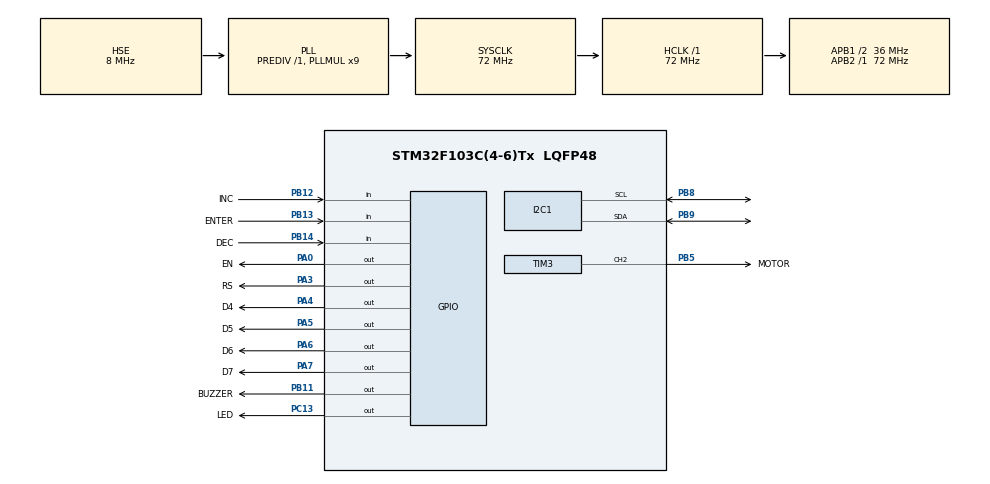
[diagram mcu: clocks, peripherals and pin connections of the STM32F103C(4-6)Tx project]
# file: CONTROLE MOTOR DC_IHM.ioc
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Mcu.Family=STM32F1
Mcu.Name=STM32F103C(4-6)Tx
Mcu.Package=LQFP48
NVIC.PriorityGroup=NVIC_PRIORITYGROUP_4
PA0-WKUP.GPIO_Label=EN
PA0-WKUP.Signal=GPIO_Output
PA13.Mode=Serial_Wire
PA13.Signal=SYS_JTMS-SWDIO
PA14.Mode=Serial_Wire
PA14.Signal=SYS_JTCK-SWCLK
PA3.GPIO_Label=RS
PA3.Signal=GPIO_Output
PA4.GPIO_Label=D4
PA4.Signal=GPIO_Output
PA5.GPIO_Label=D5
PA5.Signal=GPIO_Output
PA6.GPIO_Label=D6
PA6.Signal=GPIO_Output
PA7.GPIO_Label=D7
PA7.Signal=GPIO_Output
PB11.GPIO_Label=BUZZER
PB11.Signal=GPIO_Output
PB12.GPIO_Label=INC
PB12.Signal=GPIO_Input
PB13.GPIO_Label=ENTER
PB13.Signal=GPIO_Input
PB14.GPIO_Label=DEC
PB14.Signal=GPIO_Input
PB5.GPIO_Label=MOTOR
PB5.Signal=S_TIM3_CH2
PB8.GPIO_Pu=GPIO_PULLUP
PB8.Mode=I2C
PB8.Signal=I2C1_SCL
PB9.GPIO_Pu=GPIO_PULLUP
PB9.Mode=I2C
PB9.Signal=I2C1_SDA
PC13-TAMPER-RTC.GPIO_Label=LED
PC13-TAMPER-RTC.Signal=GPIO_Output
PD0-OSC_IN.Mode=HSE-External-Oscillator
PD0-OSC_IN.Signal=RCC_OSC_IN
PD1-OSC_OUT.Mode=HSE-External-Oscillator
PD1-OSC_OUT.Signal=RCC_OSC_OUT
ProjectManager.HeapSize=0x200
ProjectManager.StackSize=0x400
ProjectManager.TargetToolchain=STM32CubeIDE
RCC.AHBFreq_Value=72000000
RCC.APB1CLKDivider=RCC_HCLK_DIV2
RCC.APB1Freq_Value=36000000
RCC.APB1TimFreq_Value=72000000
RCC.APB2Freq_Value=72000000
RCC.APB2TimFreq_Value=72000000
RCC.HCLKFreq_Value=72000000
RCC.PLLMUL=RCC_PLL_MUL9
RCC.PLLSourceVirtual=RCC_PLLSOURCE_HSE
RCC.SYSCLKFreq_VALUE=72000000
RCC.SYSCLKSource=RCC_SYSCLKSOURCE_PLLCLK
RCC.USBFreq_Value=72000000
SH.S_TIM3_CH2.0=TIM3_CH2,PWM Generation2 CH2
TIM2.Period=100-1
TIM2.Prescaler=72-1
TIM3.Channel-PWM\ Generation2\ CH2=TIM_CHANNEL_2
TIM3.Period=100-1
TIM3.Prescaler=72-1
VP_TIM2_VS_ClockSourceINT.Mode=Internal
board=custom

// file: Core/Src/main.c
/* USER CODE BEGIN Header */
/**
  ******************************************************************************
  * @file           : main.c
  * @brief          : Main program body
  ******************************************************************************
  * @attention
  *
  * Copyright (c) 2024 STMicroelectronics.
  * All rights reserved.
  *
  * This software is licensed under terms that can be found in the LICENSE file
  * in the root directory of this software component.
  * If no LICENSE file comes with this software, it is provided AS-IS.
  *
  ******************************************************************************
  */
/* USER CODE END Header */
#include "main.h"

/* USER CODE BEGIN Includes */
#include <stdio.h>
#include "lcd.h"
/* USER CODE END Includes */

I2C_HandleTypeDef hi2c1;

TIM_HandleTypeDef htim2;
TIM_HandleTypeDef htim3;

/* USER CODE BEGIN PV */
uint8_t menu, start;
uint8_t inc, dec, enter, aux_init;
uint8_t aux_menu, aux_start, accel_time, set_ok;
uint8_t aux_accel, aux_running, aux_decel, config_finish;
uint8_t a_inc, r_inc, d_inc, inc_running, inc_decel;
uint8_t config_init, start_init, pwm;
uint8_t pwm_preset, aux_pwmPreset, motor;
uint8_t address = 0xA0;
uint8_t data = 0x18;
uint8_t data_read = 0x00;

char buffer_accel [15] = {0x00};
char buffer_running [15] = {0x00};
char buffer_decel [15] = {0x00};
/* USER CODE END PV */

void SystemClock_Config(void);
static void MX_GPIO_Init(void);
static void MX_TIM2_Init(void);
static void MX_I2C1_Init(void);
static void MX_TIM3_Init(void);
/* USER CODE BEGIN PFP */
void Buzzer_Teclas();
void ENTER_Boucing();
void DEC_Boucing();
void INC_Boucing();
void start_preset();
void start_config();
void sys_init();
void set_converter();
void converter_preset();
uint8_t find_I2C_device(uint8_t start_address, uint8_t end_address);
/* USER CODE END PFP */

int main(void)
{

  /* MCU Configuration--------------------------------------------------------*/

  /* Reset of all peripherals, Initializes the Flash interface and the Systick. */
  HAL_Init();

  /* Configure the system clock */
  SystemClock_Config();

  /* Initialize all configured peripherals */
  MX_GPIO_Init();
  MX_TIM2_Init();
  MX_I2C1_Init();
  MX_TIM3_Init();
  /* USER CODE BEGIN 2 */
  sys_init();

 address = find_I2C_device(0x03, 0x77);
 if (HAL_I2C_Mem_Write(&hi2c1, address, 0x00, I2C_MEMADD_SIZE_8BIT,&data, 1, 100) != HAL_OK)
 {
	 while(1);
 }
HAL_GPIO_WritePin(LED_GPIO_Port, LED_Pin, GPIO_PIN_SET);
HAL_Delay(50);
HAL_GPIO_WritePin(LED_GPIO_Port, LED_Pin, GPIO_PIN_RESET);
HAL_Delay(50);

  /* USER CODE END 2 */

  /* Infinite loop */
  /* USER CODE BEGIN WHILE */
	while (1)
	{
		if ((start == 1) && (HAL_GPIO_ReadPin(ENTER_GPIO_Port, ENTER_Pin)))
		{
			ENTER_Boucing();
			Buzzer_Teclas();
			start = 3;
			converter_preset();
		}

		if (HAL_GPIO_ReadPin(INC_GPIO_Port, INC_Pin) && (start == 1))
		{
			INC_Boucing();
			Buzzer_Teclas();
			LCD_Clear();
			menu = 1;
			start = 0;
		}

		if ((menu == 1) && (HAL_GPIO_ReadPin(DEC_GPIO_Port, DEC_Pin)))
		{
			DEC_Boucing();
			Buzzer_Teclas();
			LCD_Clear();
			menu = 0;
			start = 2;
		}

		if ((aux_start == 1) && (HAL_GPIO_ReadPin(ENTER_GPIO_Port, ENTER_Pin)))
		{
			ENTER_Boucing();
			Buzzer_Teclas();
			start = 3;
			aux_start = 0;
			converter_preset();
		}

		if ((aux_menu == 1) && (HAL_GPIO_ReadPin(ENTER_GPIO_Port, ENTER_Pin)))
		{
			ENTER_Boucing();
			Buzzer_Teclas();
			LCD_Clear();
			menu = 2;
			aux_menu = 0;
			a_inc = 5;
			sprintf(buffer_accel, "%d", a_inc);
		}

		if ((aux_accel == 1) && (HAL_GPIO_ReadPin(INC_GPIO_Port, INC_Pin) && (a_inc <= 80)))
		{
			aux_menu =0;
			INC_Boucing();
			Buzzer_Teclas();
			LCD_Clear();
			a_inc += 5;
			sprintf(buffer_accel, "%d", a_inc);
			menu = 3;
		}
		else if (((aux_accel == 1) && (HAL_GPIO_ReadPin(DEC_GPIO_Port, DEC_Pin) && (a_inc <= 80) && (a_inc >5))))
		{
			aux_menu = 0;
			DEC_Boucing();
			Buzzer_Teclas();
			LCD_Clear();
			a_inc -= 5;
			sprintf(buffer_accel, "%d", a_inc);
			menu = 3;
		}

		if ((aux_running == 1) && (HAL_GPIO_ReadPin(ENTER_GPIO_Port, ENTER_Pin)))
		{
			a_inc = a_inc;
			aux_accel = 0;
			ENTER_Boucing();
			Buzzer_Teclas();
			LCD_Clear();
			menu = 4;
			r_inc = 5;
			sprintf(buffer_running, "%d", r_inc);
		}

		if ((inc_running == 1) && (HAL_GPIO_ReadPin(INC_GPIO_Port, INC_Pin) && (r_inc <= 180)))
		{
			aux_running = 0;
			INC_Boucing();
			Buzzer_Teclas();
			LCD_Clear();
			r_inc += 5;
			sprintf(buffer_running, "%d", r_inc);
			menu = 5;
		}
		else if ((inc_running == 1) && (HAL_GPIO_ReadPin(DEC_GPIO_Port, DEC_Pin) && (r_inc <= 180) && (r_inc > 5)))
		{
			aux_running = 0;
			DEC_Boucing();
			Buzzer_Teclas();
			LCD_Clear();
			r_inc -= 5;
			sprintf(buffer_running, "%d", r_inc);
			menu = 5;
		}

		if ((aux_decel == 1) && (HAL_GPIO_ReadPin(ENTER_GPIO_Port, ENTER_Pin)))
		{
			r_inc = r_inc;
			inc_running = 0;
			ENTER_Boucing();
			Buzzer_Teclas();
			LCD_Clear();
			menu = 6;
			d_inc = 5;
			sprintf(buffer_decel, "%d", d_inc);
		}

		if ((inc_decel == 1) && (HAL_GPIO_ReadPin(INC_GPIO_Port, INC_Pin) && (d_inc <= 80)))
		{
			aux_decel = 0;
			INC_Boucing();
			Buzzer_Teclas();
			LCD_Clear();
			d_inc += 5;
			sprintf(buffer_decel, "%d", d_inc);
			menu = 7;
		}
		else if ((inc_decel == 1) && (HAL_GPIO_ReadPin(DEC_GPIO_Port, DEC_Pin) && (d_inc <= 80) && (d_inc > 5)))
		{
			aux_decel = 0;
			DEC_Boucing();
			Buzzer_Teclas();
			LCD_Clear();
			d_inc -= 5;
			sprintf(buffer_decel, "%d", d_inc);
			menu = 7;
		}

		if ((config_finish == 1) && (HAL_GPIO_ReadPin(ENTER_GPIO_Port, ENTER_Pin)))
		{
			d_inc = d_inc;
			inc_decel = 0;
			ENTER_Boucing();
			Buzzer_Teclas();
			LCD_Clear();
			start = 4;
			menu = 0;
		}

		if ((HAL_GPIO_ReadPin(ENTER_GPIO_Port, ENTER_Pin)) && (config_init = 1))
		{
			ENTER_Boucing();
			Buzzer_Teclas();
			LCD_Clear();
			set_converter();
			start = 5;
		}

		switch (menu)
		{
		case 1:
			LCD_Cursor(0, 2);
			LCD_String("DC MOTOR SYS");
			LCD_Cursor(1, 0);
			LCD_String("<     MENU    ");
			aux_menu = 1;
			break;

		case 2:
			LCD_Cursor(0, 0);
			LCD_String("   ACCEL TIME   ");
			LCD_Cursor(1, 7);
			LCD_String(buffer_accel);
			LCD_Cursor(1, 8);
			LCD_String("s");
			aux_accel = 1;
			break;

		case 3:
			LCD_Cursor(0, 0);
			LCD_String("   ACCEL TIME   ");
			LCD_Cursor(1, 6);
			LCD_String(buffer_accel);
			LCD_Cursor(1, 8);
			LCD_String("s");
			aux_running = 1;
			break;

		case 4:
			LCD_Cursor(0, 0);
			LCD_String("  RUNNING TIME  ");
			LCD_Cursor(1, 7);
			LCD_String(buffer_running);
			LCD_Cursor(1, 8);
			LCD_String("s");
			inc_running = 1;
			break;

		case 5:
			LCD_Cursor(0, 0);
			LCD_String("  RUNNING TIME  ");
			LCD_Cursor(1, 6);
			LCD_String(buffer_running);
			LCD_Cursor(1, 9);
			LCD_String("s");
			aux_decel = 1;
			break;

		case 6:
			LCD_Cursor(0, 0);
			LCD_String("   DECEL TIME   ");
			LCD_Cursor(1, 7);
			LCD_String(buffer_decel);
			LCD_Cursor(1, 8);
			LCD_String("s");
			inc_decel = 1;
			break;

		case 7:
			LCD_Cursor(0, 0);
			LCD_String("   DECEL TIME   ");
			LCD_Cursor(1, 6);
			LCD_String(buffer_decel);
			LCD_Cursor(1, 8);
			LCD_String("s");
			config_finish = 1;
			break;
		}

		switch (start)
		{

		case 1:
			LCD_Cursor(0, 2);
			LCD_String("DC MOTOR SYS");
			LCD_Cursor(1, 0);
			LCD_String("     START     >");
			break;

		case 2:
			LCD_Cursor(0, 2);
			LCD_String("DC MOTOR SYS");
			LCD_Cursor(1, 0);
			LCD_String("     START     >");
			aux_start = 1;
			break;

		case 3:
			aux_pwmPreset = 1;
			start_preset();
			break;

		case 4:
			LCD_Cursor(0, 2);
			LCD_String("DC MOTOR SYS");
			LCD_Cursor(1, 0);
			LCD_String("     START     >");
			config_init = 1;
			config_finish = 0;
			break;

		case 5:
			start_config();
			break;
		}
    /* USER CODE END WHILE */

    /* USER CODE BEGIN 3 */
  }
}
	void Buzzer_Teclas()
	{
		HAL_GPIO_WritePin(BUZZER_GPIO_Port, BUZZER_Pin, GPIO_PIN_SET);
		HAL_Delay(50);
		HAL_GPIO_WritePin(BUZZER_GPIO_Port, BUZZER_Pin, GPIO_PIN_RESET);
		HAL_Delay(50);
	}

	void INC_Boucing()
	{
		HAL_Delay(10);
		while (HAL_GPIO_ReadPin(INC_GPIO_Port, INC_Pin));
	}
	void DEC_Boucing()
	{
		HAL_Delay(10);
		while (HAL_GPIO_ReadPin(DEC_GPIO_Port, DEC_Pin));
	}
	void ENTER_Boucing()
	{
		HAL_Delay(10);
		while (HAL_GPIO_ReadPin(ENTER_GPIO_Port, ENTER_Pin));
	}

	void start_preset()
	{
	LCD_Clear();
	LCD_Cursor(0, 0);
	LCD_String("STATUS:    ACCEL");
	LCD_Cursor(1, 0);
	LCD_String("RPM: 1000");
	LCD_Cursor(1, 11);
	LCD_String("t:");
	LCD_Cursor(1, 13);
	LCD_String(buffer_accel);
	LCD_Cursor(1, 15);
	LCD_String("s");
	HAL_Delay(a_inc * 1000);
	LCD_Clear();

	LCD_Cursor(0, 0);
	LCD_String("STATUS:  RUNNING");
	LCD_Cursor(1, 0);
	LCD_String("RPM: 1000");
	LCD_Cursor(1, 10);
	LCD_String("t:");
	LCD_Cursor(1, 12);
	LCD_String(buffer_running);
	LCD_Cursor(1, 15);
	LCD_String("s");
	HAL_Delay(r_inc * 1000);
	LCD_Clear();

	LCD_Cursor(0, 0);
	LCD_String("STATUS:    DECEL");
	LCD_Cursor(1, 0);
	LCD_String("RPM: 1000");
	LCD_Cursor(1, 11);
	LCD_String("t:");
	LCD_Cursor(1, 13);
	LCD_String(buffer_decel);
	LCD_Cursor(1, 15);
	LCD_String("s");
	HAL_Delay(d_inc * 1000);
	LCD_Clear();
	start = 1;
	}

	void start_config()
	{
	LCD_Cursor(0, 0);
	LCD_String("STATUS:    ACCEL");
	LCD_Cursor(1, 0);
	LCD_String("RPM: 1000");
	LCD_Cursor(1, 11);
	LCD_String("t:");
	LCD_Cursor(1, 13);
	LCD_String(buffer_accel);
	LCD_Cursor(1, 15);
	LCD_String("s");
	HAL_Delay(a_inc * 1000);
	LCD_Clear();

	LCD_Cursor(0, 0);
	LCD_String("STATUS:  RUNNING");
	LCD_Cursor(1, 0);
	LCD_String("RPM: 1000");
	LCD_Cursor(1, 10);
	LCD_String("t:");
	LCD_Cursor(1, 12);
	LCD_String(buffer_running);
	LCD_Cursor(1, 15);
	LCD_String("s");
	HAL_Delay(r_inc * 1000);
	LCD_Clear();

	LCD_Cursor(0, 0);
	LCD_String("STATUS:    DECEL");
	LCD_Cursor(1, 0);
	LCD_String("RPM: 1000");
	LCD_Cursor(1, 11);
	LCD_String("t:");
	LCD_Cursor(1, 13);
	LCD_String(buffer_decel);
	LCD_Cursor(1, 15);
	LCD_String("s");
	HAL_Delay(d_inc * 1000);
	LCD_Clear();
	start = 4;
	}

	void sys_init()
	{
	LCD_Init();
	LCD_Cursor(0, 2);
	LCD_String("DC MOTOR SYS");
	LCD_Cursor(1, 2);
	LCD_String("VERSION: 1.0");
	HAL_Delay(3000);
	LCD_Clear();
	start = 1;
	}

	void set_converter()
	{
	a_inc = a_inc;
	sprintf(buffer_accel, "%d", a_inc);
	r_inc = r_inc;
	sprintf(buffer_running, "%d", r_inc);
	d_inc = d_inc;
	sprintf(buffer_decel, "%d", d_inc);
	}

	void converter_preset()
	{
	a_inc = 10;
	sprintf(buffer_accel, "%d", a_inc);
	r_inc = 120;
	sprintf(buffer_running, "%d", r_inc);
	d_inc = 10;
	sprintf(buffer_decel, "%d", d_inc);
	}

	uint8_t find_I2C_device(uint8_t start_address, uint8_t end_address)
	{
	  for (uint8_t address = start_address; address <= end_address; address++)
	  {
	    if (HAL_I2C_IsDeviceReady(&hi2c1, address << 1, 2, 5) == HAL_OK) {
	      return address;
	    }
	  }
	  return 0;
	}//
  /* USER CODE END 3 */

void SystemClock_Config(void)
{
  RCC_OscInitTypeDef RCC_OscInitStruct = {0};
  RCC_ClkInitTypeDef RCC_ClkInitStruct = {0};

  /** Initializes the RCC Oscillators according to the specified parameters
  * in the RCC_OscInitTypeDef structure.
  */
  RCC_OscInitStruct.OscillatorType = RCC_OSCILLATORTYPE_HSE;
  RCC_OscInitStruct.HSEState = RCC_HSE_ON;
  RCC_OscInitStruct.HSEPredivValue = RCC_HSE_PREDIV_DIV1;
  RCC_OscInitStruct.HSIState = RCC_HSI_ON;
  RCC_OscInitStruct.PLL.PLLState = RCC_PLL_ON;
  RCC_OscInitStruct.PLL.PLLSource = RCC_PLLSOURCE_HSE;
  RCC_OscInitStruct.PLL.PLLMUL = RCC_PLL_MUL9;
  if (HAL_RCC_OscConfig(&RCC_OscInitStruct) != HAL_OK)
  {
    Error_Handler();
  }

  /** Initializes the CPU, AHB and APB buses clocks
  */
  RCC_ClkInitStruct.ClockType = RCC_CLOCKTYPE_HCLK|RCC_CLOCKTYPE_SYSCLK
                              |RCC_CLOCKTYPE_PCLK1|RCC_CLOCKTYPE_PCLK2;
  RCC_ClkInitStruct.SYSCLKSource = RCC_SYSCLKSOURCE_PLLCLK;
  RCC_ClkInitStruct.AHBCLKDivider = RCC_SYSCLK_DIV1;
  RCC_ClkInitStruct.APB1CLKDivider = RCC_HCLK_DIV2;
  RCC_ClkInitStruct.APB2CLKDivider = RCC_HCLK_DIV1;

  if (HAL_RCC_ClockConfig(&RCC_ClkInitStruct, FLASH_LATENCY_2) != HAL_OK)
  {
    Error_Handler();
  }
}

static void MX_I2C1_Init(void)
{

  hi2c1.Instance = I2C1;
  hi2c1.Init.ClockSpeed = 100000;
  hi2c1.Init.DutyCycle = I2C_DUTYCYCLE_2;
  hi2c1.Init.OwnAddress1 = 0;
  hi2c1.Init.AddressingMode = I2C_ADDRESSINGMODE_7BIT;
  hi2c1.Init.DualAddressMode = I2C_DUALADDRESS_DISABLE;
  hi2c1.Init.OwnAddress2 = 0;
  hi2c1.Init.GeneralCallMode = I2C_GENERALCALL_DISABLE;
  hi2c1.Init.NoStretchMode = I2C_NOSTRETCH_DISABLE;
  if (HAL_I2C_Init(&hi2c1) != HAL_OK)
  {
    Error_Handler();
  }

}

static void MX_TIM2_Init(void)
{

  TIM_ClockConfigTypeDef sClockSourceConfig = {0};
  TIM_MasterConfigTypeDef sMasterConfig = {0};

  htim2.Instance = TIM2;
  htim2.Init.Prescaler = 72-1;
  htim2.Init.CounterMode = TIM_COUNTERMODE_UP;
  htim2.Init.Period = 100-1;
  htim2.Init.ClockDivision = TIM_CLOCKDIVISION_DIV1;
  htim2.Init.AutoReloadPreload = TIM_AUTORELOAD_PRELOAD_DISABLE;
  if (HAL_TIM_Base_Init(&htim2) != HAL_OK)
  {
    Error_Handler();
  }
  sClockSourceConfig.ClockSource = TIM_CLOCKSOURCE_INTERNAL;
  if (HAL_TIM_ConfigClockSource(&htim2, &sClockSourceConfig) != HAL_OK)
  {
    Error_Handler();
  }
  sMasterConfig.MasterOutputTrigger = TIM_TRGO_RESET;
  sMasterConfig.MasterSlaveMode = TIM_MASTERSLAVEMODE_DISABLE;
  if (HAL_TIMEx_MasterConfigSynchronization(&htim2, &sMasterConfig) != HAL_OK)
  {
    Error_Handler();
  }

}

static void MX_TIM3_Init(void)
{

  TIM_MasterConfigTypeDef sMasterConfig = {0};
  TIM_OC_InitTypeDef sConfigOC = {0};

  htim3.Instance = TIM3;
  htim3.Init.Prescaler = 72-1;
  htim3.Init.CounterMode = TIM_COUNTERMODE_UP;
  htim3.Init.Period = 100-1;
  htim3.Init.ClockDivision = TIM_CLOCKDIVISION_DIV1;
  htim3.Init.AutoReloadPreload = TIM_AUTORELOAD_PRELOAD_DISABLE;
  if (HAL_TIM_PWM_Init(&htim3) != HAL_OK)
  {
    Error_Handler();
  }
  sMasterConfig.MasterOutputTrigger = TIM_TRGO_RESET;
  sMasterConfig.MasterSlaveMode = TIM_MASTERSLAVEMODE_DISABLE;
  if (HAL_TIMEx_MasterConfigSynchronization(&htim3, &sMasterConfig) != HAL_OK)
  {
    Error_Handler();
  }
  sConfigOC.OCMode = TIM_OCMODE_PWM1;
  sConfigOC.Pulse = 0;
  sConfigOC.OCPolarity = TIM_OCPOLARITY_HIGH;
  sConfigOC.OCFastMode = TIM_OCFAST_DISABLE;
  if (HAL_TIM_PWM_ConfigChannel(&htim3, &sConfigOC, TIM_CHANNEL_2) != HAL_OK)
  {
    Error_Handler();
  }
  HAL_TIM_MspPostInit(&htim3);

}

static void MX_GPIO_Init(void)
{
  GPIO_InitTypeDef GPIO_InitStruct = {0};

  /* GPIO Ports Clock Enable */
  __HAL_RCC_GPIOC_CLK_ENABLE();
  __HAL_RCC_GPIOD_CLK_ENABLE();
  __HAL_RCC_GPIOA_CLK_ENABLE();
  __HAL_RCC_GPIOB_CLK_ENABLE();

  /*Configure GPIO pin Output Level */
  HAL_GPIO_WritePin(LED_GPIO_Port, LED_Pin, GPIO_PIN_RESET);

  /*Configure GPIO pin Output Level */
  HAL_GPIO_WritePin(GPIOA, EN_Pin|RS_Pin|D4_Pin|D5_Pin
                          |D6_Pin|D7_Pin, GPIO_PIN_RESET);

  /*Configure GPIO pin Output Level */
  HAL_GPIO_WritePin(BUZZER_GPIO_Port, BUZZER_Pin, GPIO_PIN_RESET);

  /*Configure GPIO pin : LED_Pin */
  GPIO_InitStruct.Pin = LED_Pin;
  GPIO_InitStruct.Mode = GPIO_MODE_OUTPUT_PP;
  GPIO_InitStruct.Pull = GPIO_NOPULL;
  GPIO_InitStruct.Speed = GPIO_SPEED_FREQ_LOW;
  HAL_GPIO_Init(LED_GPIO_Port, &GPIO_InitStruct);

  /*Configure GPIO pins : EN_Pin RS_Pin D4_Pin D5_Pin
                           D6_Pin D7_Pin */
  GPIO_InitStruct.Pin = EN_Pin|RS_Pin|D4_Pin|D5_Pin
                          |D6_Pin|D7_Pin;
  GPIO_InitStruct.Mode = GPIO_MODE_OUTPUT_PP;
  GPIO_InitStruct.Pull = GPIO_NOPULL;
  GPIO_InitStruct.Speed = GPIO_SPEED_FREQ_LOW;
  HAL_GPIO_Init(GPIOA, &GPIO_InitStruct);

  /*Configure GPIO pin : BUZZER_Pin */
  GPIO_InitStruct.Pin = BUZZER_Pin;
  GPIO_InitStruct.Mode = GPIO_MODE_OUTPUT_PP;
  GPIO_InitStruct.Pull = GPIO_NOPULL;
  GPIO_InitStruct.Speed = GPIO_SPEED_FREQ_LOW;
  HAL_GPIO_Init(BUZZER_GPIO_Port, &GPIO_InitStruct);

  /*Configure GPIO pins : INC_Pin ENTER_Pin DEC_Pin */
  GPIO_InitStruct.Pin = INC_Pin|ENTER_Pin|DEC_Pin;
  GPIO_InitStruct.Mode = GPIO_MODE_INPUT;
  GPIO_InitStruct.Pull = GPIO_NOPULL;
  HAL_GPIO_Init(GPIOB, &GPIO_InitStruct);

}

void Error_Handler(void)
{
  __disable_irq();
  while (1)
  {
  }
}
